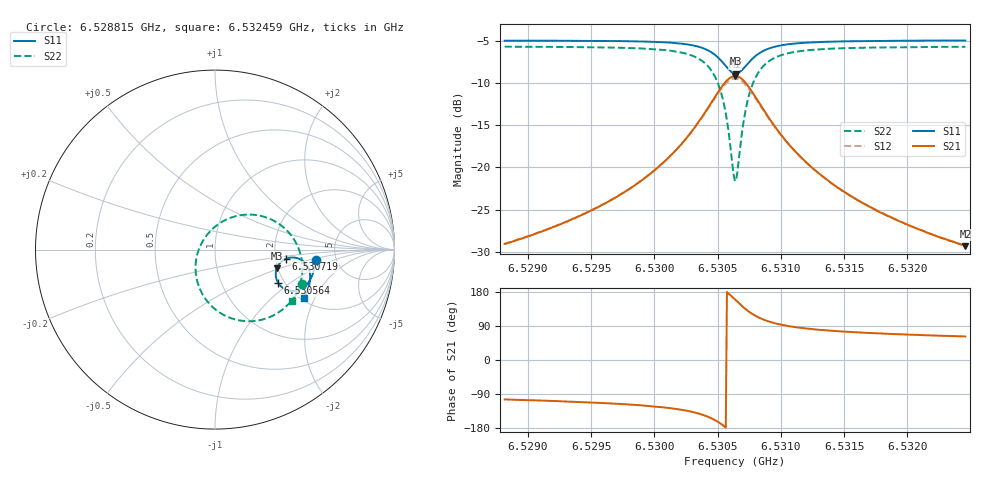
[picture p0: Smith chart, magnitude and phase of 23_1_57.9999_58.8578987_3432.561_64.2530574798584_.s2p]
#  HZ  S  RI  R  50.00
! Rohde & Schwarz Vector Network Analyzer
! Rohde-Schwarz,ZNB20-2Port,1311601062101988,3.16
! Created: UTC 3/21/2024, 12:51:15 AM
! freq[Hz]  re:S11  im:S11  re:S21  im:S21  re:S12  im:S12  re:S22  im:S22
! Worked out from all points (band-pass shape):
!   401 points, 6.528815 GHz to 6.532459 GHz, reference 50 ohm
!   highest |S21| = -9.17 dB at 6.530637 GHz (marker M1); lowest = -29.3 dB at 6.532459 GHz (marker M2)
!   |S21| within 3 dB of the highest: 6.530456 GHz to 6.530821 GHz (364.6 kHz wide, 0.00558 % of centre)
!   lowest |S11| = -8.9 dB at 6.530646 GHz (marker M3), VSWR 2.12, Z = 98.7 - j23.7 ohm
!   |S11| at or under -10 dB: nowhere
!   |S22| runs from -21.6 to -5.7 dB; largest |S21 - S12| = 0.015
!   S11 on the Smith chart (normalised r, x): 6.528815 GHz: 3.48, -0.60; 6.530564 GHz: 1.85, -0.82; 6.530719 GHz: 2.28, -0.28; 6.532459 GHz: 2.09, -1.66
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6.5288151e9  0.561 -0.0588  -0.00866 -0.0342  -0.00925 -0.034  0.4824 -0.192
6.5294254e9  0.5515 -0.1119  -0.0188 -0.0488  -0.0201 -0.0484  0.4495 -0.2537
6.5297625e9  0.5408 -0.1458  -0.0319 -0.0639  -0.0338 -0.0631  0.415 -0.2982
6.5300358e9  0.5238 -0.1786  -0.0563 -0.0844  -0.0587 -0.0826  0.3608 -0.3457
6.5302544e9  0.4935 -0.2109  -0.1034 -0.108  -0.1069 -0.1042  0.2651 -0.3896
6.5304093e9  0.4436 -0.2305  -0.1839 -0.1151  -0.1865 -0.107  0.1182 -0.3909
6.5305003e9  0.3917 -0.2215  -0.2652 -0.0817  -0.2634 -0.0697  -0.0163 -0.3171
6.5305368e9  0.3683 -0.2056  -0.3003 -0.047  -0.2951 -0.0344  -0.0684 -0.2513
6.5305641e9  0.3526 -0.1867  -0.3222 -0.00999  -0.3139 0.00187  -0.0968 -0.1846
6.5306188e9  0.3385 -0.1337  -0.3348 0.0873  -0.3216 0.0939  -0.0977 -0.0222
6.530637e9  0.3412 -0.1141  -0.326 0.1215  -0.3123 0.1256  -0.0766 0.0321
6.5306461e9  0.3442 -0.1047  -0.3192 0.1377  -0.3053 0.1407  -0.0622 0.0575
6.5306643e9  0.3529 -0.0871  -0.3009 0.1679  -0.2877 0.1683  -0.0266 0.1029
6.530719e9  0.3939 -0.0519  -0.2242 0.2263  -0.2151 0.2223  0.1103 0.1848
6.5307554e9  0.4241 -0.0443  -0.1707 0.2384  -0.1644 0.2338  0.2015 0.1951
6.5307919e9  0.4506 -0.0459  -0.1249 0.2354  -0.1208 0.2312  0.278 0.1816
6.5309103e9  0.5026 -0.0757  -0.0371 0.1903  -0.0356 0.1883  0.4201 0.0849
6.5310378e9  0.523 -0.1095  -0.00198 0.1442  -0.00083 0.1435  0.4709 -0.00784
6.5312473e9  0.5305 -0.15  0.015 0.0985  0.0159 0.0982  0.4866 -0.1033
6.5315389e9  0.5267 -0.1884  0.0187 0.0661  0.0197 0.0658  0.4781 -0.1773
6.5318577e9  0.5177 -0.2204  0.0184 0.0478  0.0191 0.0475  0.4623 -0.2271
6.5324589e9  0.4973 -0.2692  0.0161 0.0301  0.0168 0.03  0.431 -0.2881
